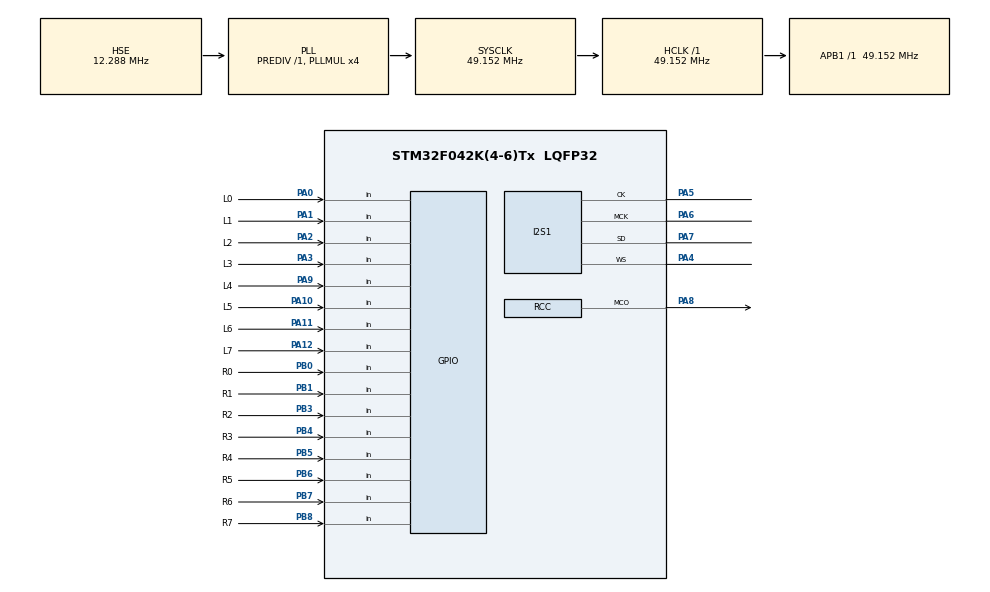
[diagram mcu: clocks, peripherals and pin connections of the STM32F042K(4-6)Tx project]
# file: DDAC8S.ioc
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Dma.Request0=SPI1_TX
Dma.SPI1_TX.0.Direction=DMA_MEMORY_TO_PERIPH
Dma.SPI1_TX.0.Instance=DMA1_Channel3
Dma.SPI1_TX.0.MemDataAlignment=DMA_MDATAALIGN_HALFWORD
Dma.SPI1_TX.0.MemInc=DMA_MINC_ENABLE
Dma.SPI1_TX.0.Mode=DMA_CIRCULAR
Dma.SPI1_TX.0.PeriphDataAlignment=DMA_PDATAALIGN_HALFWORD
Dma.SPI1_TX.0.PeriphInc=DMA_PINC_DISABLE
Dma.SPI1_TX.0.Priority=DMA_PRIORITY_LOW
I2S1.AudioFreq=I2S_AUDIOFREQ_48K
I2S1.ErrorAudioFreq=0.0 %
I2S1.FullDuplexMode=I2S_FULLDUPLEXMODE_DISABLE
I2S1.Instance=SPI$Index
I2S1.MCLKOutput=I2S_MCLKOUTPUT_ENABLE
I2S1.RealAudioFreq=48.0 KHz
I2S1.VirtualMode=I2S_MODE_MASTER
Mcu.Family=STM32F0
Mcu.Name=STM32F042K(4-6)Tx
Mcu.Package=LQFP32
NVIC.DMA1_Channel2_3_IRQn=true\:0\:0\:false\:false\:true\:false
NVIC.TIM2_IRQn=true\:0\:0\:false\:false\:true\:true
PA0.GPIO_Label=L0
PA0.GPIO_PuPd=GPIO_PULLDOWN
PA0.Signal=GPIO_Input
PA1.GPIO_Label=L1
PA1.GPIO_PuPd=GPIO_PULLDOWN
PA1.Signal=GPIO_Input
PA10.GPIO_Label=L5
PA10.GPIO_PuPd=GPIO_PULLDOWN
PA10.Signal=GPIO_Input
PA11.GPIO_Label=L6
PA11.GPIO_PuPd=GPIO_PULLDOWN
PA11.Signal=GPIO_Input
PA12.GPIO_Label=L7
PA12.GPIO_PuPd=GPIO_PULLDOWN
PA12.Signal=GPIO_Input
PA13.Mode=Serial_Wire
PA13.Signal=SYS_SWDIO
PA14.Mode=Serial_Wire
PA14.Signal=SYS_SWCLK
PA2.GPIO_Label=L2
PA2.GPIO_PuPd=GPIO_PULLDOWN
PA2.Signal=GPIO_Input
PA3.GPIO_Label=L3
PA3.GPIO_PuPd=GPIO_PULLDOWN
PA3.Signal=GPIO_Input
PA4.Mode=Half_Duplex_Master
PA4.Signal=I2S1_WS
PA5.Mode=Half_Duplex_Master
PA5.Signal=I2S1_CK
PA6.Mode=Master_Clock_Activated
PA6.Signal=I2S1_MCK
PA7.Mode=Half_Duplex_Master
PA7.Signal=I2S1_SD
PA8.Mode=Clock-out
PA8.Signal=RCC_MCO
PA9.GPIO_Label=L4
PA9.GPIO_PuPd=GPIO_PULLDOWN
PA9.Signal=GPIO_Input
PB0.GPIO_Label=R0
PB0.GPIO_PuPd=GPIO_PULLDOWN
PB0.Signal=GPIO_Input
PB1.GPIO_Label=R1
PB1.GPIO_PuPd=GPIO_PULLDOWN
PB1.Signal=GPIO_Input
PB3.GPIO_Label=R2
PB3.GPIO_PuPd=GPIO_PULLDOWN
PB3.Signal=GPIO_Input
PB4.GPIO_Label=R3
PB4.GPIO_PuPd=GPIO_PULLDOWN
PB4.Signal=GPIO_Input
PB5.GPIO_Label=R4
PB5.GPIO_PuPd=GPIO_PULLDOWN
PB5.Signal=GPIO_Input
PB6.GPIO_Label=R5
PB6.GPIO_PuPd=GPIO_PULLDOWN
PB6.Signal=GPIO_Input
PB7.GPIO_Label=R6
PB7.GPIO_PuPd=GPIO_PULLDOWN
PB7.Signal=GPIO_Input
PB8.GPIO_Label=R7
PB8.GPIO_PuPd=GPIO_PULLDOWN
PB8.Signal=GPIO_Input
PF0-OSC_IN.Mode=HSE-External-Oscillator
PF0-OSC_IN.Signal=RCC_OSC_IN
PF1-OSC_OUT.Mode=HSE-External-Oscillator
PF1-OSC_OUT.Signal=RCC_OSC_OUT
ProjectManager.HeapSize=0x200
ProjectManager.StackSize=0x400
ProjectManager.TargetToolchain=SW4STM32
RCC.AHBFreq_Value=49152000
RCC.APB1Freq_Value=49152000
RCC.APB1TimFreq_Value=49152000
RCC.HCLKFreq_Value=49152000
RCC.HSE_VALUE=12288000
RCC.PLLMUL=RCC_PLL_MUL4
RCC.PLLSourceVirtual=RCC_PLLSOURCE_HSE
RCC.RCC_MCODiv=RCC_MCODIV_4
RCC.SYSCLKFreq_VALUE=49152000
RCC.SYSCLKSource=RCC_SYSCLKSOURCE_PLLCLK
TIM2.AutoReloadPreload=TIM_AUTORELOAD_PRELOAD_ENABLE
TIM2.CounterMode=TIM_COUNTERMODE_DOWN
TIM2.Period=64
VP_TIM2_VS_ClockSourceINT.Mode=Internal
board=custom

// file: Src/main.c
/* USER CODE BEGIN Header */
/**
  ******************************************************************************
  * @file           : main.c
  * @brief          : Main program body
  ******************************************************************************
  ** This notice applies to any and all portions of this file
  * that are not between comment pairs USER CODE BEGIN and
  * USER CODE END. Other portions of this file, whether
  * inserted by the user or by software development tools
  * are owned by their respective copyright owners.
  *
  * COPYRIGHT(c) 2019 STMicroelectronics
  *
  * Redistribution and use in source and binary forms, with or without modification,
  * are permitted provided that the following conditions are met:
  *   1. Redistributions of source code must retain the above copyright notice,
  *      this list of conditions and the following disclaimer.
  *   2. Redistributions in binary form must reproduce the above copyright notice,
  *      this list of conditions and the following disclaimer in the documentation
  *      and/or other materials provided with the distribution.
  *   3. Neither the name of STMicroelectronics nor the names of its contributors
  *      may be used to endorse or promote products derived from this software
  *      without specific prior written permission.
  *
  * THIS SOFTWARE IS PROVIDED BY THE COPYRIGHT HOLDERS AND CONTRIBUTORS "AS IS"
  * AND ANY EXPRESS OR IMPLIED WARRANTIES, INCLUDING, BUT NOT LIMITED TO, THE
  * IMPLIED WARRANTIES OF MERCHANTABILITY AND FITNESS FOR A PARTICULAR PURPOSE ARE
  * DISCLAIMED. IN NO EVENT SHALL THE COPYRIGHT HOLDER OR CONTRIBUTORS BE LIABLE
  * FOR ANY DIRECT, INDIRECT, INCIDENTAL, SPECIAL, EXEMPLARY, OR CONSEQUENTIAL
  * DAMAGES (INCLUDING, BUT NOT LIMITED TO, PROCUREMENT OF SUBSTITUTE GOODS OR
  * SERVICES; LOSS OF USE, DATA, OR PROFITS; OR BUSINESS INTERRUPTION) HOWEVER
  * CAUSED AND ON ANY THEORY OF LIABILITY, WHETHER IN CONTRACT, STRICT LIABILITY,
  * OR TORT (INCLUDING NEGLIGENCE OR OTHERWISE) ARISING IN ANY WAY OUT OF THE USE
  * OF THIS SOFTWARE, EVEN IF ADVISED OF THE POSSIBILITY OF SUCH DAMAGE.
  *
  ******************************************************************************
  */
/* USER CODE END Header */

#include "main.h"

I2S_HandleTypeDef hi2s1;
DMA_HandleTypeDef hdma_spi1_tx;

TIM_HandleTypeDef htim2;

void SystemClock_Config(void);
static void MX_GPIO_Init(void);
static void MX_DMA_Init(void);
static void MX_I2S1_Init(void);
static void MX_TIM2_Init(void);

/* USER CODE BEGIN 0 */
static volatile uint8_t sampling_offset = 0;
static volatile uint16_t sampling_buffer_l[8] = { 0, 0, 0, 0, 0, 0, 0, 0 };
static volatile uint16_t sampling_buffer_r[8] = { 0, 0, 0, 0, 0, 0, 0, 0 };
static volatile int16_t buffer[4] = { 0, 0, 0, 0 };

uint16_t GetStabilizedSample(volatile uint16_t* samples) {
  // 1. if samples[0] == samples[1], then take samples[0]
  // 2. else if samples[1] == samples[2], then take samples[1]
  // 3. otherwise, samples[1] is racy, then takes samples[0]
  if (samples[1] == samples[2])
    return samples[1];
  return samples[0];
}

uint16_t AdjustL(uint16_t v) {
  // 12 11 10 9 3 2 1 0
  uint16_t lower = v & 0x000f;
  uint16_t upper = (v & 0x1e00) >> 5;
  return upper | lower;
}

uint16_t AdjustR(uint16_t v) {
  // 8 7 6 5 4 3 1 0
  uint16_t lower = v & 0x0003;
  uint16_t upper = (v & 0x01f8) >> 1;
  return upper | lower;
}

void HAL_I2S_TxHalfCpltCallback(I2S_HandleTypeDef *hi2s) {
  buffer[0] = (
      AdjustL(GetStabilizedSample(&sampling_buffer_l[0])) +
      AdjustL(GetStabilizedSample(&sampling_buffer_l[3]))) << 6;
  buffer[1] = (
      AdjustR(GetStabilizedSample(&sampling_buffer_r[0])) +
      AdjustR(GetStabilizedSample(&sampling_buffer_r[3]))) << 6;
  //buffer[0] = AdjustL(GetStabilizedSample(sampling_buffer_l)) << 7;
  //buffer[1] = AdjustR(GetStabilizedSample(sampling_buffer_r)) << 7;
  sampling_offset = 0;
}

void HAL_I2S_TxCpltCallback(I2S_HandleTypeDef *hi2s) {
  buffer[2] = (
      AdjustL(GetStabilizedSample(&sampling_buffer_l[0])) +
      AdjustL(GetStabilizedSample(&sampling_buffer_l[3]))) << 6;
  buffer[3] = (
      AdjustR(GetStabilizedSample(&sampling_buffer_r[0])) +
      AdjustR(GetStabilizedSample(&sampling_buffer_r[3]))) << 6;
  //buffer[2] = AdjustL(GetStabilizedSample(sampling_buffer_l)) << 7;
  //buffer[3] = AdjustR(GetStabilizedSample(sampling_buffer_r)) << 7;
  sampling_offset = 0;
}

#define L_Pin (L0_Pin|L1_Pin|L2_Pin|L3_Pin|L4_Pin|L5_Pin|L6_Pin|L7_Pin)
#define R_Pin (R0_Pin|R1_Pin|R2_Pin|R3_Pin|R4_Pin|R5_Pin|R6_Pin|R7_Pin)

void HAL_TIM_PeriodElapsedCallback(TIM_HandleTypeDef *htim) {
  if (sampling_offset >= 8)
    return;
  sampling_buffer_l[sampling_offset] = GPIOA->IDR & L_Pin;
  sampling_buffer_r[sampling_offset] = GPIOB->IDR & R_Pin;
  ++sampling_offset;
}

/* USER CODE END 0 */

int main(void)
{

  /* MCU Configuration--------------------------------------------------------*/

  /* Reset of all peripherals, Initializes the Flash interface and the Systick. */
  HAL_Init();

  /* Configure the system clock */
  SystemClock_Config();

  /* Initialize all configured peripherals */
  MX_GPIO_Init();
  MX_DMA_Init();
  MX_I2S1_Init();
  MX_TIM2_Init();
  /* USER CODE BEGIN 2 */
  HAL_I2S_Transmit_DMA(&hi2s1, (uint16_t*)buffer, 4);
  HAL_TIM_Base_Start_IT(&htim2);
  /* USER CODE END 2 */

  /* Infinite loop */
  while (1)
  {

  }
}

void SystemClock_Config(void)
{
  RCC_OscInitTypeDef RCC_OscInitStruct = {0};
  RCC_ClkInitTypeDef RCC_ClkInitStruct = {0};

  /**Initializes the CPU, AHB and APB busses clocks
  */
  RCC_OscInitStruct.OscillatorType = RCC_OSCILLATORTYPE_HSE;
  RCC_OscInitStruct.HSEState = RCC_HSE_ON;
  RCC_OscInitStruct.PLL.PLLState = RCC_PLL_ON;
  RCC_OscInitStruct.PLL.PLLSource = RCC_PLLSOURCE_HSE;
  RCC_OscInitStruct.PLL.PLLMUL = RCC_PLL_MUL4;
  RCC_OscInitStruct.PLL.PREDIV = RCC_PREDIV_DIV1;
  if (HAL_RCC_OscConfig(&RCC_OscInitStruct) != HAL_OK)
  {
    Error_Handler();
  }
  /**Initializes the CPU, AHB and APB busses clocks
  */
  RCC_ClkInitStruct.ClockType = RCC_CLOCKTYPE_HCLK|RCC_CLOCKTYPE_SYSCLK
                              |RCC_CLOCKTYPE_PCLK1;
  RCC_ClkInitStruct.SYSCLKSource = RCC_SYSCLKSOURCE_PLLCLK;
  RCC_ClkInitStruct.AHBCLKDivider = RCC_SYSCLK_DIV1;
  RCC_ClkInitStruct.APB1CLKDivider = RCC_HCLK_DIV1;

  if (HAL_RCC_ClockConfig(&RCC_ClkInitStruct, FLASH_LATENCY_1) != HAL_OK)
  {
    Error_Handler();
  }
  HAL_RCC_MCOConfig(RCC_MCO, RCC_MCO1SOURCE_SYSCLK, RCC_MCODIV_4);
}

static void MX_I2S1_Init(void)
{

  hi2s1.Instance = SPI1;
  hi2s1.Init.Mode = I2S_MODE_MASTER_TX;
  hi2s1.Init.Standard = I2S_STANDARD_PHILIPS;
  hi2s1.Init.DataFormat = I2S_DATAFORMAT_16B;
  hi2s1.Init.MCLKOutput = I2S_MCLKOUTPUT_ENABLE;
  hi2s1.Init.AudioFreq = I2S_AUDIOFREQ_48K;
  hi2s1.Init.CPOL = I2S_CPOL_LOW;
  if (HAL_I2S_Init(&hi2s1) != HAL_OK)
  {
    Error_Handler();
  }

}

static void MX_TIM2_Init(void)
{

  TIM_ClockConfigTypeDef sClockSourceConfig = {0};
  TIM_MasterConfigTypeDef sMasterConfig = {0};

  htim2.Instance = TIM2;
  htim2.Init.Prescaler = 0;
  htim2.Init.CounterMode = TIM_COUNTERMODE_DOWN;
  htim2.Init.Period = 128;  // 12.288x4 [MHz] / 48[KHz] / 8 times
  htim2.Init.ClockDivision = TIM_CLOCKDIVISION_DIV1;
  htim2.Init.AutoReloadPreload = TIM_AUTORELOAD_PRELOAD_ENABLE;
  if (HAL_TIM_Base_Init(&htim2) != HAL_OK)
  {
    Error_Handler();
  }
  sClockSourceConfig.ClockSource = TIM_CLOCKSOURCE_INTERNAL;
  if (HAL_TIM_ConfigClockSource(&htim2, &sClockSourceConfig) != HAL_OK)
  {
    Error_Handler();
  }
  sMasterConfig.MasterOutputTrigger = TIM_TRGO_RESET;
  sMasterConfig.MasterSlaveMode = TIM_MASTERSLAVEMODE_DISABLE;
  if (HAL_TIMEx_MasterConfigSynchronization(&htim2, &sMasterConfig) != HAL_OK)
  {
    Error_Handler();
  }

}

static void MX_DMA_Init(void)
{
  /* DMA controller clock enable */
  __HAL_RCC_DMA1_CLK_ENABLE();

  /* DMA interrupt init */
  /* DMA1_Channel2_3_IRQn interrupt configuration */
  HAL_NVIC_SetPriority(DMA1_Channel2_3_IRQn, 0, 0);
  HAL_NVIC_EnableIRQ(DMA1_Channel2_3_IRQn);

}

static void MX_GPIO_Init(void)
{
  GPIO_InitTypeDef GPIO_InitStruct = {0};

  /* GPIO Ports Clock Enable */
  __HAL_RCC_GPIOF_CLK_ENABLE();
  __HAL_RCC_GPIOA_CLK_ENABLE();
  __HAL_RCC_GPIOB_CLK_ENABLE();

  /*Configure GPIO pins : L0_Pin L1_Pin L2_Pin L3_Pin
                           L4_Pin L5_Pin L6_Pin L7_Pin */
  GPIO_InitStruct.Pin = L0_Pin|L1_Pin|L2_Pin|L3_Pin
                          |L4_Pin|L5_Pin|L6_Pin|L7_Pin;
  GPIO_InitStruct.Mode = GPIO_MODE_INPUT;
  GPIO_InitStruct.Pull = GPIO_PULLDOWN;
  HAL_GPIO_Init(GPIOA, &GPIO_InitStruct);

  /*Configure GPIO pins : R0_Pin R1_Pin R2_Pin R3_Pin
                           R4_Pin R5_Pin R6_Pin R7_Pin */
  GPIO_InitStruct.Pin = R0_Pin|R1_Pin|R2_Pin|R3_Pin
                          |R4_Pin|R5_Pin|R6_Pin|R7_Pin;
  GPIO_InitStruct.Mode = GPIO_MODE_INPUT;
  GPIO_InitStruct.Pull = GPIO_PULLDOWN;
  HAL_GPIO_Init(GPIOB, &GPIO_InitStruct);

  /*Configure GPIO pin : PA8 */
  GPIO_InitStruct.Pin = GPIO_PIN_8;
  GPIO_InitStruct.Mode = GPIO_MODE_AF_PP;
  GPIO_InitStruct.Pull = GPIO_NOPULL;
  GPIO_InitStruct.Speed = GPIO_SPEED_FREQ_LOW;
  GPIO_InitStruct.Alternate = GPIO_AF0_MCO;
  HAL_GPIO_Init(GPIOA, &GPIO_InitStruct);

}

void Error_Handler(void)
{
}

/************************ (C) COPYRIGHT STMicroelectronics *****END OF FILE****/
